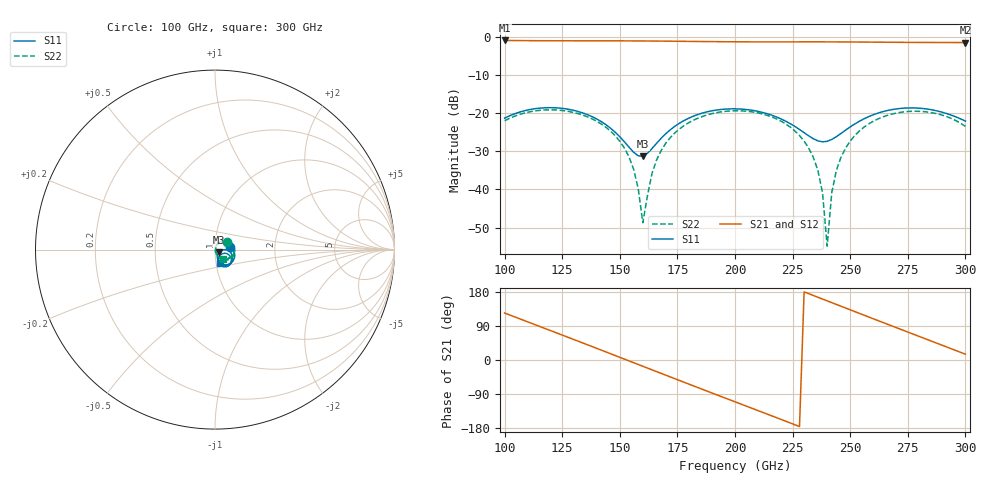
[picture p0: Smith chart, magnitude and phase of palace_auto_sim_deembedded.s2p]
! Created with skrf 1.11.0 (http://scikit-rf.org).
# GHz S DB R 50.0
!freq dBS11 angS11 dBS21 angS21 dBS12 angS12 dBS22 angS22
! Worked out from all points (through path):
!   101 points, 100 GHz to 300 GHz, reference 50 ohm
!   highest |S21| = -0.89 dB at 100 GHz (marker M1); lowest = -1.4 dB at 300 GHz (marker M2)
!   group delay of S21, straight-line fit = 6.51 ps
!   lowest |S11| = -31.3 dB at 160 GHz (marker M3), VSWR 1.06, Z = 52.3 - j1.53 ohm
!   |S11| at or under -10 dB: start of sweep to end of sweep
!   |S22| runs from -54.9 to -19.1 dB; largest |S21 - S12| = 1e-13
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100  -21.28 8.8  -0.89 124.0  -0.89 124.0  -21.96 32.3
116  -18.61 -22.5  -0.96 86.8  -0.96 86.8  -19.19 1.0
134  -19.93 -57.6  -0.98 44.8  -0.98 44.8  -20.49 -36.1
144  -23.01 -72.3  -0.99 21.2  -0.99 21.2  -23.69 -56.5
152  -27.48 -72.4  -1.00 2.4  -1.00 2.4  -29.13 -70.9
156  -30.24 -59.3  -1.01 -7.1  -1.01 -7.1  -34.69 -74.3
158  -31.17 -46.9  -1.02 -11.8  -1.02 -11.8  -39.81 -69.5
160  -31.27 -32.2  -1.02 -16.6  -1.02 -16.6  -48.72 -20.5
164  -29.24 -9.9  -1.04 -26.0  -1.04 -26.0  -35.74 65.1
168  -26.53 -1.7  -1.06 -35.4  -1.06 -35.4  -29.72 62.7
184  -20.30 -15.5  -1.16 -73.0  -1.16 -73.0  -21.26 32.4
200  -18.84 -41.7  -1.24 -110.3  -1.24 -110.3  -19.34 -0.9
222  -22.07 -70.9  -1.27 -161.5  -1.27 -161.5  -22.80 -48.3
234  -26.68 -61.6  -1.26 170.3  -1.26 170.3  -31.58 -73.2
238  -27.49 -47.1  -1.26 160.8  -1.26 160.8  -40.92 -74.8
240  -27.36 -39.1  -1.26 156.1  -1.26 156.1  -54.88 1.1
242  -26.87 -31.9  -1.27 151.4  -1.27 151.4  -40.80 72.9
246  -25.29 -22.4  -1.28 141.9  -1.28 141.9  -31.54 71.2
254  -22.09 -19.8  -1.30 123.0  -1.30 123.0  -24.64 54.8
268  -19.05 -35.5  -1.36 90.1  -1.36 90.1  -20.22 23.4
282  -18.78 -55.6  -1.41 57.4  -1.41 57.4  -19.57 -8.4
300  -22.05 -70.9  -1.44 15.3  -1.44 15.3  -23.44 -50.1
